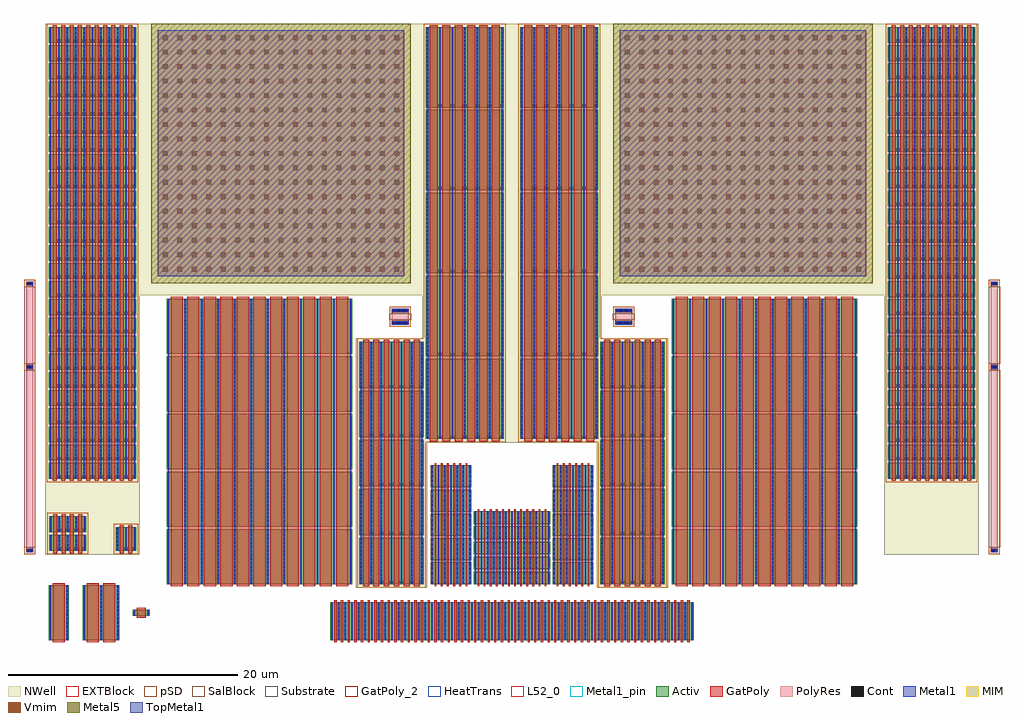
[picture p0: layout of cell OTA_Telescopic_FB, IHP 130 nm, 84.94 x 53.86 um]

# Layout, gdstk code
import gdstk
lib = gdstk.Library(unit=1e-6, precision=1e-09)
def R(c, l, rs):  # rectangles x0, y0, x1, y1
    for r in rs: c.add(gdstk.rectangle(r[:2], r[2:], *l))
def A(c, l, x, y, w, h, nx, ny, dx, dy):  # array of equal rectangles
    R(c, l, [(x+i*dx, y+j*dy, x+i*dx+w, y+j*dy+h) for i in range(nx) for j in range(ny)])
Activ = (1, 0)
GatPoly = (5, 0)
GatPoly_2 = (5, 2)
Cont = (6, 0)
Metal1 = (8, 0)
Metal1_pin = (8, 2)
pSD = (14, 0)
SalBlock = (28, 0)
NWell = (31, 0)
MIM = (36, 0)
Substrate = (40, 0)
HeatTrans = (51, 0)
L52_0 = (52, 0)
Metal5 = (67, 0)
EXTBlock = (111, 0)
TopMetal1 = (126, 0)
PolyRes = (128, 0)
Vmim = (129, 0)

nmos_5 = lib.new_cell('nmos$5')
A(nmos_5, Activ, 0, 0, 0.3, 0.3, 10, 1, 0.58, 0)
R(nmos_5, Activ, [(0,0,5.52,3.33)])
A(nmos_5, GatPoly, 0.34, -0.18, 0.2, 3.69, 9, 1, 0.58, 0)
R(nmos_5, GatPoly_2, [(0.34,-0.18,0.54,3.51)])
A(nmos_5, Cont, 0.07, 0.07, 0.16, 0.16, 10, 2, 0.58, 0.375)
A(nmos_5, Cont, 0.07, 0.825, 0.16, 0.16, 10, 3, 0.58, 0.38)
A(nmos_5, Cont, 0.07, 1.96, 0.16, 0.16, 10, 4, 0.58, 0.38)
A(nmos_5, Metal1, 0.07, 0, 0.16, 3.33, 10, 1, 0.58, 0)
R(nmos_5, Metal1_pin, [(0.07,0,0.23,3.33), (0.65,0,0.81,3.33)])
A(nmos_5, HeatTrans, 0.34, -0.18, 0.2, 3.69, 9, 1, 0.58, 0)
nmos_5.add(gdstk.Label('nmos', (0.44,1.665), layer=63, texttype=0))
nmos_5.add(gdstk.Label('nmos', (0.44,1.665), layer=51, texttype=0))
nmos_5.add(gdstk.Label('nmos', (1.02,1.665), layer=51, texttype=0))
nmos_5.add(gdstk.Label('nmos', (1.6,1.665), layer=51, texttype=0))
nmos_5.add(gdstk.Label('nmos', (2.18,1.665), layer=51, texttype=0))
nmos_5.add(gdstk.Label('nmos', (2.76,1.665), layer=51, texttype=0))
nmos_5.add(gdstk.Label('nmos', (3.34,1.665), layer=51, texttype=0))
nmos_5.add(gdstk.Label('nmos', (3.92,1.665), layer=51, texttype=0))
nmos_5.add(gdstk.Label('nmos', (4.5,1.665), layer=51, texttype=0))
nmos_5.add(gdstk.Label('nmos', (5.08,1.665), layer=51, texttype=0))

c_m0 = lib.new_cell('M0')
r = gdstk.Reference(nmos_5, (-0.44,-0.155)); r.repetition = gdstk.Repetition(6, 1, v1=(5.22,0), v2=(0,0)); c_m0.add(r)

pmos_2 = lib.new_cell('pmos$2')
R(pmos_2, Activ, [(0,0,0.3,0.3), (0,0,1.18,4.05), (0.88,0,1.18,0.3)])
R(pmos_2, GatPoly, [(0.34,-0.18,0.84,4.23), (0.34,-0.18,0.84,4.23)])
A(pmos_2, Cont, 0.07, 0.07, 0.16, 0.16, 1, 6, 0, 0.34)
A(pmos_2, Cont, 0.95, 0.07, 0.16, 0.16, 1, 6, 0, 0.34)
A(pmos_2, Cont, 0.07, 2.115, 0.16, 0.16, 1, 5, 0, 0.34)
A(pmos_2, Cont, 0.95, 2.115, 0.16, 0.16, 1, 5, 0, 0.34)
R(pmos_2, Cont, [(0.07,3.82,0.23,3.98), (0.95,3.82,1.11,3.98)])
R(pmos_2, Metal1, [(0.07,0,0.23,4.05), (0.07,0,0.23,4.05), (0.95,0,1.11,4.05), (0.95,0,1.11,4.05)])
R(pmos_2, pSD, [(-0.18,-0.3,1.36,4.35)])
R(pmos_2, NWell, [(-0.31,-0.31,1.49,4.36)])
R(pmos_2, Substrate, [(0.88,0,1.18,0.3)])
R(pmos_2, HeatTrans, [(0.34,-0.18,0.84,4.23)])
pmos_2.add(gdstk.Label('pmos', (0.59,2.025), layer=63, texttype=0))
pmos_2.add(gdstk.Label('pmos', (0.59,2.025), layer=51, texttype=0))

m1_conm5m6 = lib.new_cell('M1_conM5M6')
R(m1_conm5m6, Metal1, [(0,0,0.16,0.21)])

m5m6 = lib.new_cell('M5M6')
r = gdstk.Reference(pmos_2, (-0.455,-0.12)); r.repetition = gdstk.Repetition(6, 5, v1=(0.88,0), v2=(0,4.26)); m5m6.add(r)
r = gdstk.Reference(m1_conm5m6, (-0.385,3.93)); r.repetition = gdstk.Repetition(7, 4, v1=(0.88,0), v2=(0,4.26)); m5m6.add(r)

pmos_3 = lib.new_cell('pmos$3')
R(pmos_3, Activ, [(0,0,0.3,0.3), (0,0,1.38,7), (1.08,0,1.38,0.3)])
R(pmos_3, GatPoly, [(0.34,-0.18,1.04,7.18), (0.34,-0.18,1.04,7.18)])
A(pmos_3, Cont, 0.07, 6.06, 0.16, 0.16, 1, 3, 0, 0.355)
A(pmos_3, Cont, 1.15, 6.06, 0.16, 0.16, 1, 3, 0, 0.355)
R(pmos_3, Cont, [(0.07,0.07,0.23,0.23), (1.15,0.07,1.31,0.23), (0.07,0.42,0.23,0.58), (1.15,0.42,1.31,0.58), (0.07,0.775,0.23,0.935), (1.15,0.775,1.31,0.935), (0.07,1.125,0.23,1.285), (1.15,1.125,1.31,1.285), (0.07,1.48,0.23,1.64), (1.15,1.48,1.31,1.64), (0.07,1.83,0.23,1.99), (1.15,1.83,1.31,1.99), (0.07,2.185,0.23,2.345), (1.15,2.185,1.31,2.345), (0.07,2.535,0.23,2.695), (1.15,2.535,1.31,2.695), (0.07,2.89,0.23,3.05), (1.15,2.89,1.31,3.05), (0.07,3.24,0.23,3.4), (1.15,3.24,1.31,3.4), (0.07,3.595,0.23,3.755), (1.15,3.595,1.31,3.755), (0.07,3.945,0.23,4.105), (1.15,3.945,1.31,4.105), (0.07,4.3,0.23,4.46), (1.15,4.3,1.31,4.46), (0.07,4.65,0.23,4.81), (1.15,4.65,1.31,4.81), (0.07,5.005,0.23,5.165), (1.15,5.005,1.31,5.165), (0.07,5.355,0.23,5.515), (1.15,5.355,1.31,5.515), (0.07,5.71,0.23,5.87), (1.15,5.71,1.31,5.87)])
R(pmos_3, Metal1, [(0.07,0,0.23,7), (0.07,0,0.23,7), (1.15,0,1.31,7), (1.15,0,1.31,7)])
R(pmos_3, pSD, [(-0.18,-0.3,1.56,7.3)])
R(pmos_3, NWell, [(-0.31,-0.31,1.69,7.31)])
R(pmos_3, Substrate, [(1.08,0,1.38,0.3)])
R(pmos_3, HeatTrans, [(0.34,-0.18,1.04,7.18)])
pmos_3.add(gdstk.Label('pmos', (0.69,3.5), layer=63, texttype=0))
pmos_3.add(gdstk.Label('pmos', (0.69,3.5), layer=51, texttype=0))

m1_conm7m8 = lib.new_cell('M1_conM7M8')
R(m1_conm7m8, Metal1, [(0,0,0.16,0.21)])

m7m8 = lib.new_cell('M7M8')
r = gdstk.Reference(pmos_3, (-0.44,-0.15)); r.repetition = gdstk.Repetition(6, 5, v1=(1.08,0), v2=(0,7.21)); m7m8.add(r)
r = gdstk.Reference(m1_conm7m8, (-0.37,6.85)); r.repetition = gdstk.Repetition(7, 4, v1=(1.08,0), v2=(0,7.21)); m7m8.add(r)

pmos_1_2 = lib.new_cell('pmos$1$2')
R(pmos_1_2, Activ, [(0,0,0.3,0.3), (0,0,1.03,1.37), (0.73,0,1.03,0.3)])
R(pmos_1_2, GatPoly, [(0.34,-0.18,0.69,1.55), (0.34,-0.18,0.69,1.55)])
A(pmos_1_2, Cont, 0.07, 0.07, 0.16, 0.16, 1, 3, 0, 0.355)
A(pmos_1_2, Cont, 0.8, 0.07, 0.16, 0.16, 1, 3, 0, 0.355)
R(pmos_1_2, Cont, [(0.07,1.14,0.23,1.3), (0.8,1.14,0.96,1.3)])
R(pmos_1_2, Metal1, [(0.07,0,0.23,1.37), (0.07,0,0.23,1.37), (0.8,0,0.96,1.37), (0.8,0,0.96,1.37)])
R(pmos_1_2, pSD, [(-0.18,-0.3,1.21,1.67)])
R(pmos_1_2, NWell, [(-0.31,-0.31,1.34,1.68)])
R(pmos_1_2, Substrate, [(0.73,0,1.03,0.3)])
R(pmos_1_2, HeatTrans, [(0.34,-0.18,0.69,1.55)])
pmos_1_2.add(gdstk.Label('pmos', (0.515,0.685), layer=63, texttype=0))
pmos_1_2.add(gdstk.Label('pmos', (0.515,0.685), layer=51, texttype=0))

m1_conm9m10 = lib.new_cell('M1_conM9M10')
R(m1_conm9m10, Metal1, [(0,0,0.16,0.21)])

m9m10 = lib.new_cell('M9M10')
r = gdstk.Reference(pmos_1_2, (-0.455,-0.095)); r.repetition = gdstk.Repetition(10, 25, v1=(0.73,0), v2=(0,1.58)); m9m10.add(r)
r = gdstk.Reference(m1_conm9m10, (-0.385,1.275)); r.repetition = gdstk.Repetition(11, 24, v1=(0.73,0), v2=(0,1.58)); m9m10.add(r)

nmos_3 = lib.new_cell('nmos$3')
R(nmos_3, Activ, [(0,0,0.3,0.3), (0,0,1.74,4.8), (1.44,0,1.74,0.3)])
R(nmos_3, GatPoly, [(0.34,-0.18,1.4,4.98)])
R(nmos_3, GatPoly_2, [(0.34,-0.18,1.4,4.98)])
A(nmos_3, Cont, 0.07, 0.07, 0.16, 0.16, 1, 5, 0, 0.345)
A(nmos_3, Cont, 1.51, 0.07, 0.16, 0.16, 1, 5, 0, 0.345)
A(nmos_3, Cont, 0.07, 1.8, 0.16, 0.16, 1, 4, 0, 0.345)
A(nmos_3, Cont, 1.51, 1.8, 0.16, 0.16, 1, 4, 0, 0.345)
A(nmos_3, Cont, 0.07, 3.185, 0.16, 0.16, 1, 4, 0, 0.345)
A(nmos_3, Cont, 1.51, 3.185, 0.16, 0.16, 1, 4, 0, 0.345)
R(nmos_3, Cont, [(0.07,4.57,0.23,4.73), (1.51,4.57,1.67,4.73)])
R(nmos_3, Metal1, [(0.07,0,0.23,4.8), (1.51,0,1.67,4.8)])
R(nmos_3, Metal1_pin, [(0.07,0,0.23,4.8), (1.51,0,1.67,4.8)])
R(nmos_3, HeatTrans, [(0.34,-0.18,1.4,4.98)])
nmos_3.add(gdstk.Label('nmos', (0.87,2.4), layer=63, texttype=0))
nmos_3.add(gdstk.Label('nmos', (0.87,2.4), layer=51, texttype=0))

m1_conm11m12 = lib.new_cell('M1_conM11M12')
R(m1_conm11m12, Metal1, [(0,0,0.16,0.21)])

m11m12 = lib.new_cell('M11M12')
r = gdstk.Reference(nmos_3, (-0.415,-0.15)); r.repetition = gdstk.Repetition(11, 5, v1=(1.44,0), v2=(0,5.01)); m11m12.add(r)
r = gdstk.Reference(m1_conm11m12, (-0.345,4.65)); r.repetition = gdstk.Repetition(12, 4, v1=(1.44,0), v2=(0,5.01)); m11m12.add(r)

rppd_1_1 = lib.new_cell('rppd$1$1')
R(rppd_1_1, GatPoly, [(0,-0.43,1.5,-0.2), (0,-0.2,1.5,0), (0,0.55,1.5,0.75), (0,0.75,1.5,0.98)])
R(rppd_1_1, Cont, [(0.07,-0.36,1.43,-0.2), (0.07,0.75,1.43,0.91)])
R(rppd_1_1, Metal1, [(0.02,-0.43,1.48,-0.13), (0.02,0.68,1.48,0.98)])
R(rppd_1_1, Metal1_pin, [(0.02,-0.43,1.48,-0.13), (0.02,0.68,1.48,0.98)])
R(rppd_1_1, pSD, [(-0.18,-0.61,1.68,0), (-0.18,0,1.68,0.55), (-0.18,0.55,1.68,1.16)])
R(rppd_1_1, SalBlock, [(-0.2,0,1.7,0.55)])
R(rppd_1_1, L52_0, [(0,0,1.5,0.55)])
R(rppd_1_1, EXTBlock, [(-0.18,-0.61,1.68,0), (-0.2,0,1.7,0.55), (-0.18,0.55,1.68,1.16)])
R(rppd_1_1, PolyRes, [(0,0,1.5,0.55)])
rppd_1_1.add(gdstk.Label('rppd r=141.620', (0.75,0.275), layer=63, texttype=0))
rppd_1_1.add(gdstk.Label('rppd', (0.75,0.275), layer=52, texttype=0))

r1r2 = lib.new_cell('R1R2')
r1r2.add(gdstk.Reference(rppd_1_1, (-0.27,-0.24)))

cmim_1 = lib.new_cell('cmim$1')
R(cmim_1, MIM, [(0,0,21.4,21.4)])
R(cmim_1, Metal5, [(-0.6,-0.6,22,22)])
R(cmim_1, TopMetal1, [(-0.01,-0.01,21.41,21.41)])
A(cmim_1, Vmim, 0.41, 0.41, 0.42, 0.42, 17, 17, 1.26, 1.26)

c1c2 = lib.new_cell('C1C2')
c1c2.add(gdstk.Reference(cmim_1, (-3.32,-3.51)))

m13m14m16 = lib.new_cell('M13M14M16')
m13m14m16.add(gdstk.Reference(nmos_3, (-0.45,-0.145)))

pmos_5 = lib.new_cell('pmos$5')
R(pmos_5, Activ, [(0,0,0.3,0.3), (0,0,1.03,2.05), (0.73,0,1.03,0.3)])
R(pmos_5, GatPoly, [(0.34,-0.18,0.69,2.23), (0.34,-0.18,0.69,2.23)])
A(pmos_5, Cont, 0.07, 0.07, 0.16, 0.16, 1, 6, 0, 0.35)
A(pmos_5, Cont, 0.8, 0.07, 0.16, 0.16, 1, 6, 0, 0.35)
R(pmos_5, Metal1, [(0.07,0,0.23,2.05), (0.07,0,0.23,2.05), (0.8,0,0.96,2.05), (0.8,0,0.96,2.05)])
R(pmos_5, pSD, [(-0.18,-0.3,1.21,2.35)])
R(pmos_5, NWell, [(-0.31,-0.31,1.34,2.36)])
R(pmos_5, Substrate, [(0.73,0,1.03,0.3)])
R(pmos_5, HeatTrans, [(0.34,-0.18,0.69,2.23)])
pmos_5.add(gdstk.Label('pmos', (0.515,1.025), layer=63, texttype=0))
pmos_5.add(gdstk.Label('pmos', (0.515,1.025), layer=51, texttype=0))

m17m18 = lib.new_cell('M17M18')
m17m18.add(gdstk.Reference(pmos_5, (-0.44,-0.145)))

nmos_4 = lib.new_cell('nmos$4')
R(nmos_4, Activ, [(0,0,0.3,0.3), (0,0,1.48,0.5), (1.18,0,1.48,0.3)])
R(nmos_4, GatPoly, [(0.34,-0.18,1.14,0.68)])
R(nmos_4, GatPoly_2, [(0.34,-0.18,1.14,0.68)])
R(nmos_4, Cont, [(0.07,0.17,0.23,0.33), (1.25,0.17,1.41,0.33)])
R(nmos_4, Metal1, [(0.07,0,0.23,0.5), (1.25,0,1.41,0.5)])
R(nmos_4, Metal1_pin, [(0.07,0,0.23,0.5), (1.25,0,1.41,0.5)])
R(nmos_4, HeatTrans, [(0.34,-0.18,1.14,0.68)])
nmos_4.add(gdstk.Label('nmos', (0.74,0.25), layer=63, texttype=0))
nmos_4.add(gdstk.Label('nmos', (0.74,0.25), layer=51, texttype=0))

m19 = lib.new_cell('M19')
m19.add(gdstk.Reference(nmos_4, (-0.435,-0.15)))

nmos_1_2 = lib.new_cell('nmos$1$2')
R(nmos_1_2, Activ, [(0,0,0.3,0.3), (0,0,0.83,1.1), (0.53,0,0.83,0.3)])
R(nmos_1_2, GatPoly, [(0.34,-0.18,0.49,1.28)])
R(nmos_1_2, GatPoly_2, [(0.34,-0.18,0.49,1.28)])
A(nmos_1_2, Cont, 0.07, 0.07, 0.16, 0.16, 1, 3, 0, 0.4)
A(nmos_1_2, Cont, 0.6, 0.07, 0.16, 0.16, 1, 3, 0, 0.4)
R(nmos_1_2, Metal1, [(0.07,0,0.23,1.1), (0.6,0,0.76,1.1)])
R(nmos_1_2, Metal1_pin, [(0.07,0,0.23,1.1), (0.6,0,0.76,1.1)])
R(nmos_1_2, HeatTrans, [(0.34,-0.18,0.49,1.28)])
nmos_1_2.add(gdstk.Label('nmos', (0.415,0.55), layer=63, texttype=0))
nmos_1_2.add(gdstk.Label('nmos', (0.415,0.55), layer=51, texttype=0))

m1_conm1m2 = lib.new_cell('M1_conM1M2')
R(m1_conm1m2, Metal1, [(0,0,0.16,0.21)])

m1m2 = lib.new_cell('M1M2')
r = gdstk.Reference(nmos_1_2, (-0.425,-0.13)); r.repetition = gdstk.Repetition(6, 5, v1=(0.53,0), v2=(0,1.31)); m1m2.add(r)
r = gdstk.Reference(m1_conm1m2, (-0.355,0.97)); r.repetition = gdstk.Repetition(7, 4, v1=(0.53,0), v2=(0,1.31)); m1m2.add(r)

nmos_2_1 = lib.new_cell('nmos$2$1')
R(nmos_2_1, Activ, [(0,0,0.3,0.3), (0,0,0.84,1.9), (0.54,0,0.84,0.3)])
R(nmos_2_1, GatPoly, [(0.34,-0.18,0.5,2.08)])
R(nmos_2_1, GatPoly_2, [(0.34,-0.18,0.5,2.08)])
A(nmos_2_1, Cont, 0.07, 0.07, 0.16, 0.16, 1, 5, 0, 0.4)
A(nmos_2_1, Cont, 0.61, 0.07, 0.16, 0.16, 1, 5, 0, 0.4)
R(nmos_2_1, Metal1, [(0.07,0,0.23,1.9), (0.61,0,0.77,1.9)])
R(nmos_2_1, Metal1_pin, [(0.07,0,0.23,1.9), (0.61,0,0.77,1.9)])
R(nmos_2_1, HeatTrans, [(0.34,-0.18,0.5,2.08)])
nmos_2_1.add(gdstk.Label('nmos', (0.42,0.95), layer=63, texttype=0))
nmos_2_1.add(gdstk.Label('nmos', (0.42,0.95), layer=51, texttype=0))

m1_conm3m4 = lib.new_cell('M1_conM3M4')
R(m1_conm3m4, Metal1, [(0,0,0.16,0.21)])

m3m4 = lib.new_cell('M3M4')
r = gdstk.Reference(nmos_2_1, (-0.395,-0.12)); r.repetition = gdstk.Repetition(6, 5, v1=(0.54,0), v2=(0,2.11)); m3m4.add(r)
r = gdstk.Reference(m1_conm3m4, (-0.325,1.78)); r.repetition = gdstk.Repetition(7, 4, v1=(0.54,0), v2=(0,2.11)); m3m4.add(r)

pmos_4 = lib.new_cell('pmos$4')
R(pmos_4, Activ, [(0,0,0.3,0.3), (0,0,1.03,1.4), (0.73,0,1.03,0.3)])
R(pmos_4, GatPoly, [(0.34,-0.18,0.69,1.58), (0.34,-0.18,0.69,1.58)])
A(pmos_4, Cont, 0.07, 0.07, 0.16, 0.16, 1, 3, 0, 0.365)
A(pmos_4, Cont, 0.8, 0.07, 0.16, 0.16, 1, 3, 0, 0.365)
R(pmos_4, Cont, [(0.07,1.17,0.23,1.33), (0.8,1.17,0.96,1.33)])
R(pmos_4, Metal1, [(0.07,0,0.23,1.4), (0.07,0,0.23,1.4), (0.8,0,0.96,1.4), (0.8,0,0.96,1.4)])
R(pmos_4, pSD, [(-0.18,-0.3,1.21,1.7)])
R(pmos_4, NWell, [(-0.31,-0.31,1.34,1.71)])
R(pmos_4, Substrate, [(0.73,0,1.03,0.3)])
R(pmos_4, HeatTrans, [(0.34,-0.18,0.69,1.58)])
pmos_4.add(gdstk.Label('pmos', (0.515,0.7), layer=63, texttype=0))
pmos_4.add(gdstk.Label('pmos', (0.515,0.7), layer=51, texttype=0))

m15 = lib.new_cell('M15')
r = gdstk.Reference(pmos_4, (-0.455,-0.14)); r.repetition = gdstk.Repetition(4, 2, v1=(0.73,0), v2=(0,1.61)); m15.add(r)

ota_telescopic_core = lib.new_cell('OTA_Telescopic_core')
R(ota_telescopic_core, NWell, [(-21.755,8.035,-13.535,14.33), (51.265,8.035,59.485,14.33), (18.465,17.78,19.265,30.595), (-13.535,30.595,51.265,54.24)])
ota_telescopic_core.add(gdstk.Reference(c_m0, (3.495,0.72)))
ota_telescopic_core.add(gdstk.Reference(m5m6, (27.02,5.565)))
ota_telescopic_core.add(gdstk.Reference(m7m8, (20.015,18.24)))
ota_telescopic_core.add(gdstk.Reference(m9m10, (-20.99,14.735)))
ota_telescopic_core.add(gdstk.Reference(m9m10, (52.03,14.735)))
ota_telescopic_core.add(gdstk.Reference(m11m12, (-10.76,5.595)))
ota_telescopic_core.add(gdstk.Reference(m11m12, (33.18,5.595)))
ota_telescopic_core.add(gdstk.Reference(r1r2, (28.115,28.695)))
ota_telescopic_core.add(gdstk.Reference(c1c2, (-8.615,35.75)))
ota_telescopic_core.add(gdstk.Reference(c1c2, (31.585,35.75)))
ota_telescopic_core.add(gdstk.Reference(r1r2, (8.655,28.695)))
ota_telescopic_core.add(gdstk.Reference(m13m14m16, (-20.995,0.71)))
ota_telescopic_core.add(gdstk.Reference(m17m18, (-14.435,8.49)))
ota_telescopic_core.add(gdstk.Reference(m17m18, (-15.165,8.49)))
ota_telescopic_core.add(gdstk.Reference(m19, (-13.71,2.865)))
ota_telescopic_core.add(gdstk.Reference(m1m2, (15.96,5.575)))
ota_telescopic_core.add(gdstk.Reference(m1m2, (19.14,5.575)))
ota_telescopic_core.add(gdstk.Reference(m3m4, (12.18,5.565)))
ota_telescopic_core.add(gdstk.Reference(m3m4, (22.8,5.565)))
ota_telescopic_core.add(gdstk.Reference(m5m6, (6.04,5.565)))
ota_telescopic_core.add(gdstk.Reference(m7m8, (11.815,18.24)))
ota_telescopic_core.add(gdstk.Reference(m15, (-20.95,8.485)))
ota_telescopic_core.add(gdstk.Reference(m13m14m16, (-16.595,0.71)))
ota_telescopic_core.add(gdstk.Reference(m13m14m16, (-18.035,0.71)))

ota_core = lib.new_cell('OTA_core')
ota_core.add(gdstk.Reference(ota_telescopic_core, (0,0)))

rppd_2 = lib.new_cell('rppd$2')
R(rppd_2, GatPoly, [(0,-0.43,0.6,-0.2), (0,-0.2,0.6,0), (0,15.4,0.6,15.6), (0,15.6,0.6,15.83)])
R(rppd_2, Cont, [(0.07,-0.36,0.53,-0.2), (0.07,15.6,0.53,15.76)])
R(rppd_2, Metal1, [(0.02,-0.43,0.58,-0.13), (0.02,15.53,0.58,15.83)])
R(rppd_2, Metal1_pin, [(0.02,-0.43,0.58,-0.13), (0.02,15.53,0.58,15.83)])
R(rppd_2, pSD, [(-0.18,-0.61,0.78,0), (-0.18,0,0.78,15.4), (-0.18,15.4,0.78,16.01)])
R(rppd_2, SalBlock, [(-0.2,0,0.8,15.4)])
R(rppd_2, L52_0, [(0,0,0.6,15.4)])
R(rppd_2, EXTBlock, [(-0.18,-0.61,0.78,0), (-0.2,0,0.8,15.4), (-0.18,15.4,0.78,16.01)])
R(rppd_2, PolyRes, [(0,0,0.6,15.4)])
rppd_2.add(gdstk.Label('rppd r=6723.927', (0.3,7.7), layer=63, texttype=0))
rppd_2.add(gdstk.Label('rppd', (0.3,7.7), layer=52, texttype=0))

c_r2 = lib.new_cell('R2')
c_r2.add(gdstk.Reference(rppd_2, (-0.045,-0.07)))

rppd_3 = lib.new_cell('rppd$3')
R(rppd_3, GatPoly, [(0,-0.43,0.6,-0.2), (0,-0.2,0.6,0), (0,6.73,0.6,6.93), (0,6.93,0.6,7.16)])
R(rppd_3, Cont, [(0.07,-0.36,0.53,-0.2), (0.07,6.93,0.53,7.09)])
R(rppd_3, Metal1, [(0.02,-0.43,0.58,-0.13), (0.02,6.86,0.58,7.16)])
R(rppd_3, Metal1_pin, [(0.02,-0.43,0.58,-0.13), (0.02,6.86,0.58,7.16)])
R(rppd_3, pSD, [(-0.18,-0.61,0.78,0), (-0.18,0,0.78,6.73), (-0.18,6.73,0.78,7.34)])
R(rppd_3, SalBlock, [(-0.2,0,0.8,6.73)])
R(rppd_3, L52_0, [(0,0,0.6,6.73)])
R(rppd_3, EXTBlock, [(-0.18,-0.61,0.78,0), (-0.2,0,0.8,6.73), (-0.18,6.73,0.78,7.34)])
R(rppd_3, PolyRes, [(0,0,0.6,6.73)])
rppd_3.add(gdstk.Label('rppd r=3004.125', (0.3,3.365), layer=63, texttype=0))
rppd_3.add(gdstk.Label('rppd', (0.3,3.365), layer=52, texttype=0))

c_r1 = lib.new_cell('R1')
c_r1.add(gdstk.Reference(rppd_3, (-0.12,-0.16)))

ota_telescopic_fb = lib.new_cell('OTA_Telescopic_FB')
ota_telescopic_fb.add(gdstk.Reference(ota_core, (33.665,13.91)))
ota_telescopic_fb.add(gdstk.Reference(c_r2, (10.305,22.635)))
ota_telescopic_fb.add(gdstk.Reference(c_r2, (94.245,22.635)))
ota_telescopic_fb.add(gdstk.Reference(c_r1, (10.38,38.685)))
ota_telescopic_fb.add(gdstk.Reference(c_r1, (94.32,38.685)))

lib.write_gds('OTA_Telescopic_FB.gds')
